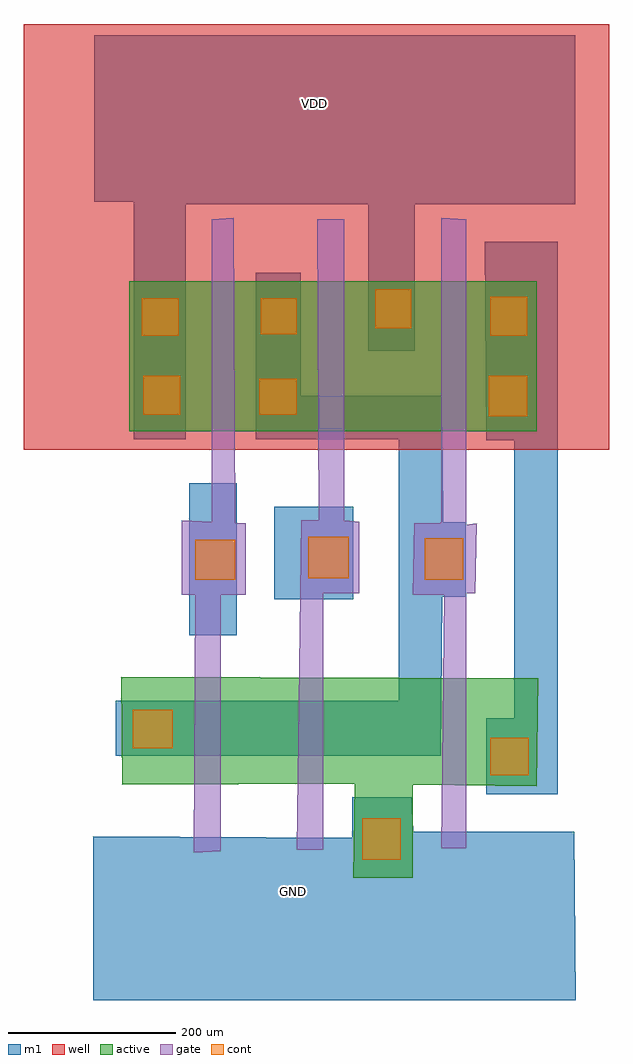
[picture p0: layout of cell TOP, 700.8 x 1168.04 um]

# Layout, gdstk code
import gdstk
lib = gdstk.Library(unit=1e-6, precision=1e-09)
def R(c, l, rs):  # rectangles x0, y0, x1, y1
    for r in rs: c.add(gdstk.rectangle(r[:2], r[2:], *l))
def P(c, l, *ps):  # polygons
    for p in ps: c.add(gdstk.Polygon(p, *l))
well = (1, 0)
active = (2, 0)
gate = (3, 0)
cont = (4, 0)
m1 = (5, 0)

top = lib.new_cell('TOP')
R(top, well, [(-292.651,44.195,408.151,553.919)])
R(top, active, [(-166.142,66.314,321.589,246.005), (-166.142,66.314,321.589,246.005)])
P(top, active, [(101.759,-467.944),(103.245,-355.043),(-174.55,-356.529),(-176.036,-227.287),(323.104,-228.773),(321.619,-358.014),(173.065,-356.529),(173.065,-467.944)],
  [(101.759,-467.944),(103.245,-355.043),(-174.55,-356.529),(-176.036,-227.287),(323.104,-228.773),(321.619,-358.014),(173.065,-356.529),(173.065,-467.944)])
P(top, gate, [(206.787,-432.291),(210.352,-129.242),(172.916,-129.242),(174.699,-43.675),(205.004,-43.675),(206.787,-41.892),(206.787,321.767),(237.092,319.984),(237.092,-45.457),(249.57,-43.675),(247.787,-127.459),(237.092,-127.459),(237.092,-432.291)],
  [(206.787,-432.291),(210.352,-129.242),(172.916,-129.242),(174.699,-43.675),(205.004,-43.675),(206.787,-41.892),(206.787,321.767),(237.092,319.984),(237.092,-45.457),(249.57,-43.675),(247.787,-127.459),(237.092,-127.459),(237.092,-432.291)],
  [(33.87,-434.074),(39.218,-40.109),(60.61,-40.109),(58.827,319.984),(90.915,319.984),(90.915,-40.109),(108.741,-41.892),(108.741,-127.459),(65.958,-127.459),(65.958,-434.074)],
  [(33.87,-434.074),(39.218,-40.109),(60.61,-40.109),(58.827,319.984),(90.915,319.984),(90.915,-40.109),(108.741,-41.892),(108.741,-127.459),(65.958,-127.459),(65.958,-434.074)],
  [(-89.132,-437.639),(-87.35,-129.242),(-103.393,-129.242),(-103.393,-40.109),(-67.74,-41.892),(-67.74,319.984),(-41.001,321.767),(-39.218,-43.675),(-26.74,-43.675),(-26.74,-129.242),(-57.045,-129.242),(-57.045,-435.856)],
  [(-89.132,-437.639),(-87.35,-129.242),(-103.393,-129.242),(-103.393,-40.109),(-67.74,-41.892),(-67.74,319.984),(-41.001,321.767),(-39.218,-43.675),(-26.74,-43.675),(-26.74,-129.242),(-57.045,-129.242),(-57.045,-435.856)])
R(top, cont, [(112.307,-446.552,158.655,-396.638), (112.307,-446.552,158.655,-396.638), (265.614,-344.941,311.963,-300.375), (265.614,-344.941,311.963,-300.375), (-162.221,-312.854,-114.089,-266.505), (-162.221,-312.854,-114.089,-266.505), (-87.35,-111.415,-39.218,-63.284), (-87.35,-111.415,-39.218,-63.284), (187.178,-111.415,233.526,-61.501), (187.178,-111.415,233.526,-61.501), (48.131,-109.633,96.263,-59.719), (48.131,-109.633,96.263,-59.719), (263.831,84.676,310.18,132.807), (263.831,84.676,310.18,132.807), (-149.742,86.458,-105.176,132.807), (-149.742,86.458,-105.176,132.807), (-10.696,86.458,33.87,129.242), (-10.696,86.458,33.87,129.242), (-151.525,180.938,-106.959,225.504), (-151.525,180.938,-106.959,225.504), (265.614,180.938,310.18,227.287), (265.614,180.938,310.18,227.287), (-8.913,182.721,33.87,225.504), (-8.913,182.721,33.87,225.504), (128.35,189.851,171.134,236.2), (128.35,189.851,171.134,236.2)])
R(top, m1, [(-94.48,-177.373,-37.436,4.457), (-94.48,-177.373,-37.436,4.457), (7.131,-134.59,101.611,-24.066), (7.131,-134.59,101.611,-24.066)])
P(top, m1, [(-209.461,-614.121),(-209.461,-418.03),(100.719,-419.812),(100.719,-371.681),(172.025,-371.681),(173.808,-412.682),(366.333,-412.682),(368.116,-614.121)],
  [(-209.461,-614.121),(-209.461,-418.03),(100.719,-419.812),(100.719,-371.681),(172.025,-371.681),(173.808,-412.682),(366.333,-412.682),(368.116,-614.121)],
  [(260.897,-367.67),(260.897,-276.681),(294.322,-276.681),(294.322,55.708),(260.897,55.708),(259.04,293.393),(346.316,293.393),(346.316,-367.67)],
  [(260.897,-367.67),(260.897,-276.681),(294.322,-276.681),(294.322,55.708),(260.897,55.708),(259.04,293.393),(346.316,293.393),(346.316,-367.67)],
  [(-182.721,-321.619),(-182.721,-256.255),(155.981,-256.255),(155.981,57.193),(-14.855,57.193),(-14.855,256.255),(38.624,256.255),(38.624,109.187),(207.975,109.187),(209.461,-42.338),(236.2,-42.338),(236.2,-131.47),(207.975,-131.47),(206.489,-321.619)],
  [(-182.721,-321.619),(-182.721,-256.255),(155.981,-256.255),(155.981,57.193),(-14.855,57.193),(-14.855,256.255),(38.624,256.255),(38.624,109.187),(207.975,109.187),(209.461,-42.338),(236.2,-42.338),(236.2,-131.47),(207.975,-131.47),(206.489,-321.619)],
  [(-161.181,57.193),(-161.181,341.426),(-207.975,341.426),(-207.975,540.735),(367.423,540.735),(367.423,337.959),(175.046,337.959),(175.046,162.914),(119.586,162.914),(119.586,337.959),(-98.788,337.959),(-98.788,57.193)],
  [(-161.181,57.193),(-161.181,341.426),(-207.975,341.426),(-207.975,540.735),(367.423,540.735),(367.423,337.959),(175.046,337.959),(175.046,162.914),(119.586,162.914),(119.586,337.959),(-98.788,337.959),(-98.788,57.193)])
top.add(gdstk.Label('VDD', (55.243,458.195), layer=5, texttype=1))
top.add(gdstk.Label('GND', (29.948,-484.166), layer=5, texttype=1))

lib.write_gds('TOP.gds')
